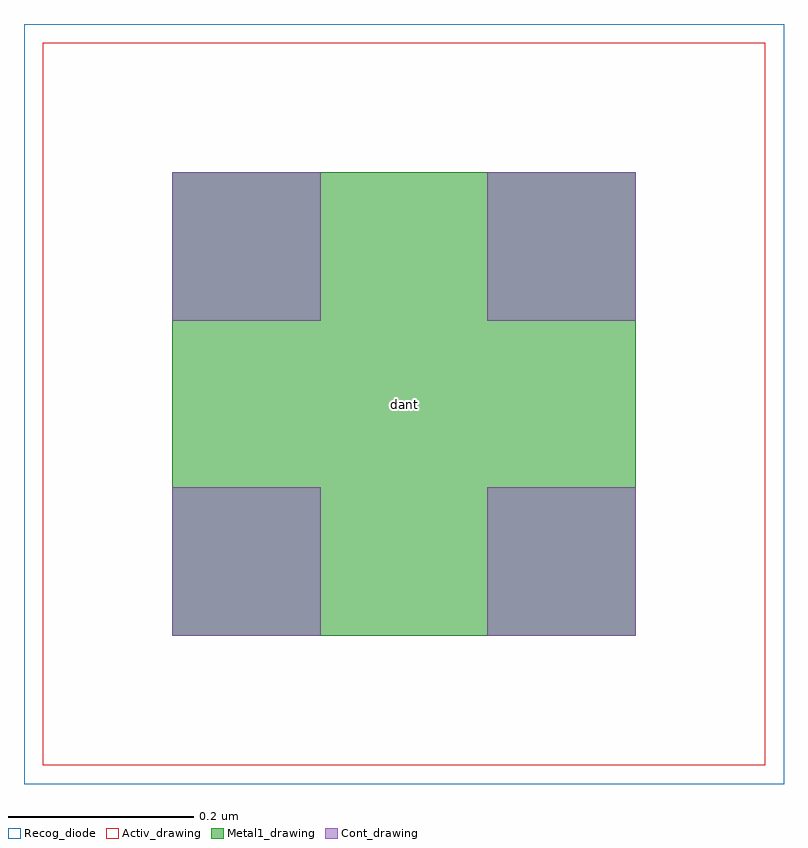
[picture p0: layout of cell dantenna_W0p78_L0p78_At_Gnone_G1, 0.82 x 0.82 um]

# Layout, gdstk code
import gdstk
lib = gdstk.Library(unit=1e-6, precision=1e-09)
def R(c, l, rs):  # rectangles x0, y0, x1, y1
    for r in rs: c.add(gdstk.rectangle(r[:2], r[2:], *l))
Activ_drawing = (1, 0)
Cont_drawing = (6, 0)
Metal1_drawing = (8, 0)
Recog_diode = (99, 31)

rectangle_gdsfactorypcom = lib.new_cell('rectangle_gdsfactorypcomponentspshapesprectangle_S0p16__bf15bdcd')
R(rectangle_gdsfactorypcom, Cont_drawing, [(0,0,0.16,0.16)])

c_rectangle_gdsfactorypcom = lib.new_cell('rectangle_gdsfactorypcomponentspshapesprectangle_S0p5_0_8d802f7b')
R(c_rectangle_gdsfactorypcom, Metal1_drawing, [(0,0,0.5,0.5)])

c_rectangle_gdsfactorypcom_ = lib.new_cell('rectangle_gdsfactorypcomponentspshapesprectangle_S0p78__e1389ba8')
R(c_rectangle_gdsfactorypcom_, Activ_drawing, [(0,0,0.78,0.78)])

c_rectangle_gdsfactorypcom__ = lib.new_cell('rectangle_gdsfactorypcomponentspshapesprectangle_S0p820_b02aaaed')
R(c_rectangle_gdsfactorypcom__, Recog_diode, [(0,0,0.82,0.82)])

dantenna_w0p78_l0p78_at_ = lib.new_cell('dantenna_W0p78_L0p78_At_Gnone_G1')
dantenna_w0p78_l0p78_at_.add(gdstk.Reference(rectangle_gdsfactorypcom, (0.14,0.14)))
dantenna_w0p78_l0p78_at_.add(gdstk.Reference(rectangle_gdsfactorypcom, (0.48,0.14)))
dantenna_w0p78_l0p78_at_.add(gdstk.Reference(rectangle_gdsfactorypcom, (0.14,0.48)))
dantenna_w0p78_l0p78_at_.add(gdstk.Reference(rectangle_gdsfactorypcom, (0.48,0.48)))
dantenna_w0p78_l0p78_at_.add(gdstk.Reference(c_rectangle_gdsfactorypcom, (0.14,0.14)))
dantenna_w0p78_l0p78_at_.add(gdstk.Reference(c_rectangle_gdsfactorypcom_, (0,0)))
dantenna_w0p78_l0p78_at_.add(gdstk.Reference(c_rectangle_gdsfactorypcom__, (-0.02,-0.02)))
dantenna_w0p78_l0p78_at_.add(gdstk.Label('dant', (0.39,0.39), layer=63, texttype=0))

lib.write_gds('dantenna_W0p78_L0p78_At_Gnone_G1.gds')
